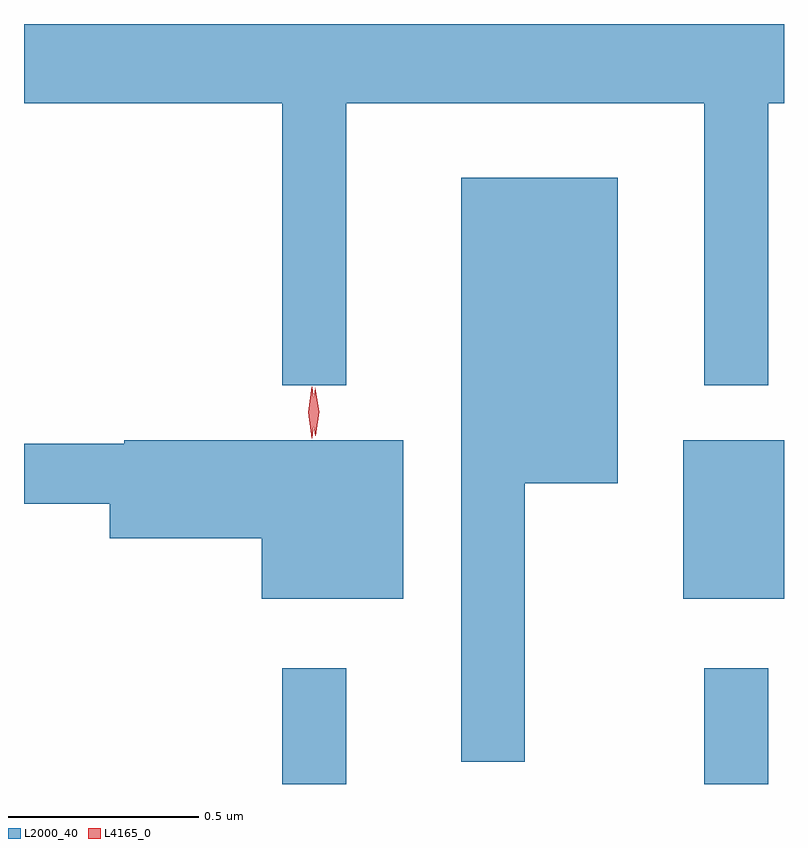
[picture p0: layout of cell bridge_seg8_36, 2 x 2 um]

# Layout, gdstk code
import gdstk
lib = gdstk.Library(unit=1e-6, precision=1e-09)
def R(c, l, rs):  # rectangles x0, y0, x1, y1
    for r in rs: c.add(gdstk.rectangle(r[:2], r[2:], *l))
def P(c, l, *ps):  # polygons
    for p in ps: c.add(gdstk.Polygon(p, *l))
L2000_40 = (2000, 40)
L4165_0 = (4165, 0)

bridge_seg8_36 = lib.new_cell('bridge_seg8_36')
R(bridge_seg8_36, L2000_40, [(1494.811,1907.884,1494.979,1908.188), (1495.921,1907.884,1496.089,1908.188), (1495.866,1908.371,1496.131,1908.789)])
P(bridge_seg8_36, L2000_40, [(1494.979,1909.676),(1495.921,1909.676),(1495.921,1908.933),(1496.089,1908.933),(1496.089,1909.676),(1496.131,1909.676),(1496.131,1909.884),(1494.131,1909.884),(1494.131,1909.676),(1494.811,1909.676),(1494.811,1908.933),(1494.979,1908.933)],
  [(1495.449,1908.676),(1495.694,1908.676),(1495.694,1909.479),(1495.281,1909.479),(1495.281,1907.943),(1495.449,1907.943)],
  [(1495.129,1908.789),(1494.395,1908.789),(1494.395,1908.779),(1494.131,1908.779),(1494.131,1908.621),(1494.356,1908.621),(1494.356,1908.531),(1494.756,1908.531),(1494.756,1908.371),(1495.129,1908.371)])
P(bridge_seg8_36, L4165_0, [(1494.898,1908.8),(1494.898,1908.8),(1494.888,1908.863),(1494.897,1908.926),(1494.898,1908.927),(1494.898,1908.926),(1494.908,1908.863),(1494.899,1908.8)],
  [(1494.888,1908.794),(1494.879,1908.862),(1494.888,1908.93),(1494.888,1908.93),(1494.889,1908.93),(1494.898,1908.862),(1494.889,1908.794),(1494.889,1908.794)])

lib.write_gds('bridge_seg8_36.gds')
